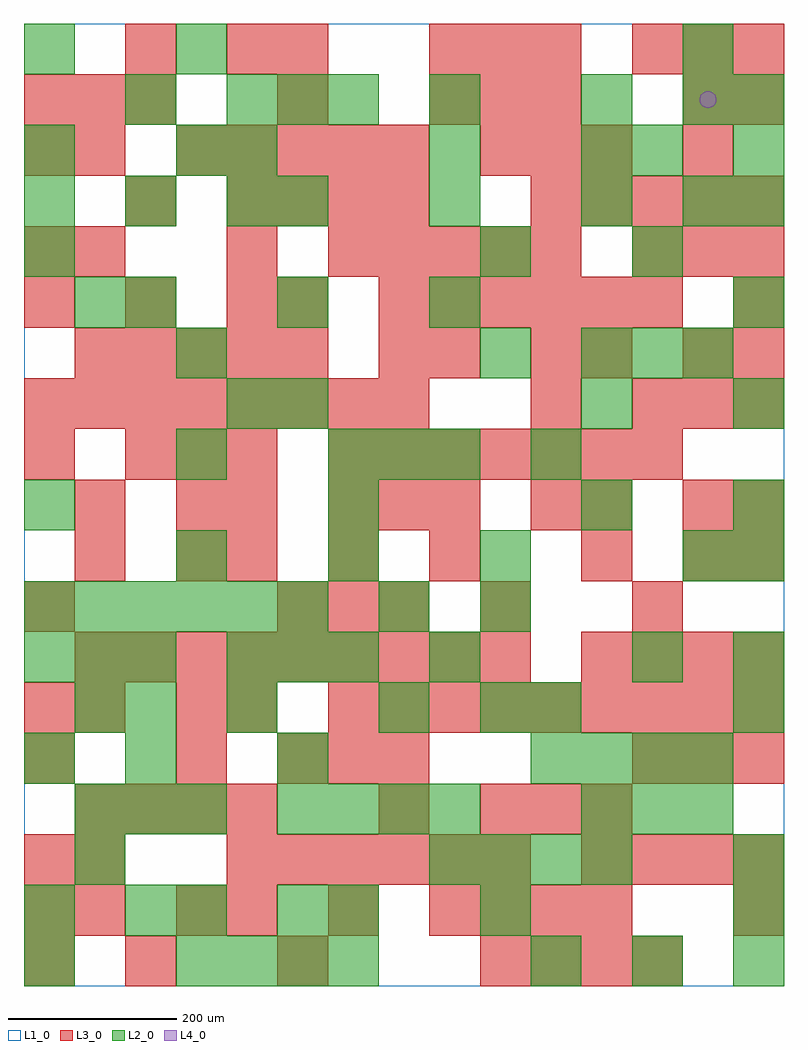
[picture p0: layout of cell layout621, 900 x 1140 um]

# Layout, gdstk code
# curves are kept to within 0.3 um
import gdstk
lib = gdstk.Library(unit=1e-6, precision=1e-09)
def R(c, l, rs):  # rectangles x0, y0, x1, y1
    for r in rs: c.add(gdstk.rectangle(r[:2], r[2:], *l))
def A(c, l, x, y, w, h, nx, ny, dx, dy):  # array of equal rectangles
    R(c, l, [(x+i*dx, y+j*dy, x+i*dx+w, y+j*dy+h) for i in range(nx) for j in range(ny)])
def P(c, l, *ps):  # polygons
    for p in ps: c.add(gdstk.Polygon(p, *l))
L1_0 = (1, 0)
L2_0 = (2, 0)
L3_0 = (3, 0)
L4_0 = (4, 0)

layout621 = lib.new_cell('layout621')
R(layout621, L1_0, [(0,0,900,1140)])
A(layout621, L2_0, 180, 0, 60, 60, 4, 1, 60, 0)
A(layout621, L2_0, 600, 0, 60, 60, 3, 1, 120, 0)
A(layout621, L2_0, 480, 120, 60, 60, 4, 1, 60, 0)
A(layout621, L2_0, 60, 180, 60, 60, 3, 1, 60, 0)
A(layout621, L2_0, 300, 180, 60, 60, 4, 1, 60, 0)
A(layout621, L2_0, 660, 180, 60, 60, 3, 2, 60, 540)
A(layout621, L2_0, 0, 240, 60, 60, 1, 3, 0, 300)
A(layout621, L2_0, 600, 240, 60, 60, 4, 1, 60, 0)
A(layout621, L2_0, 0, 360, 60, 60, 3, 1, 60, 0)
A(layout621, L2_0, 240, 360, 60, 60, 3, 2, 60, 660)
A(layout621, L2_0, 0, 420, 60, 60, 6, 1, 60, 0)
A(layout621, L2_0, 180, 480, 60, 60, 3, 1, 180, 0)
A(layout621, L2_0, 840, 540, 60, 60, 1, 4, 0, 120)
A(layout621, L2_0, 360, 600, 60, 60, 3, 1, 60, 0)
A(layout621, L2_0, 120, 780, 60, 60, 3, 1, 180, 0)
A(layout621, L2_0, 0, 900, 60, 60, 3, 1, 120, 0)
A(layout621, L2_0, 300, 900, 60, 60, 3, 1, 180, 0)
R(layout621, L2_0, [(0,0,60,60), (0,60,60,120), (120,60,180,120), (180,60,240,120), (300,60,360,120), (360,60,420,120), (540,60,600,120), (840,60,900,120), (60,120,120,180), (840,120,900,180), (120,240,180,300), (300,240,360,300), (60,300,120,360), (120,300,180,360), (240,300,300,360), (420,300,480,360), (540,300,600,360), (600,300,660,360), (840,300,900,360), (480,360,540,420), (720,360,780,420), (840,360,900,420), (420,420,480,480), (540,420,600,480), (780,480,840,540), (840,480,900,540), (360,540,420,600), (660,540,720,600), (180,600,240,660), (600,600,660,660), (240,660,300,720), (300,660,360,720), (660,660,720,720), (180,720,240,780), (540,720,600,780), (60,780,120,840), (540,840,600,900), (720,840,780,900), (780,900,840,960), (0,960,60,1020), (180,960,240,1020), (240,960,300,1020), (480,960,540,1020), (660,960,720,1020), (720,960,780,1020), (840,960,900,1020), (120,1020,180,1080), (480,1020,540,1080), (660,1020,720,1080), (780,1020,840,1080), (840,1020,900,1080), (0,1080,60,1140), (180,1080,240,1140), (780,1080,840,1140)])
A(layout621, L3_0, 0, 0, 60, 60, 1, 3, 0, 60)
A(layout621, L3_0, 540, 0, 60, 60, 4, 1, 60, 0)
A(layout621, L3_0, 240, 60, 60, 60, 3, 2, 120, 420)
A(layout621, L3_0, 540, 60, 60, 60, 3, 2, 60, 120)
A(layout621, L3_0, 60, 120, 60, 60, 1, 3, 0, 180)
A(layout621, L3_0, 240, 120, 60, 60, 6, 1, 60, 0)
A(layout621, L3_0, 660, 120, 60, 60, 4, 2, 60, 240)
A(layout621, L3_0, 60, 180, 60, 60, 4, 1, 60, 0)
A(layout621, L3_0, 300, 240, 60, 60, 3, 2, 60, 180)
A(layout621, L3_0, 720, 240, 60, 60, 3, 2, 60, 420)
A(layout621, L3_0, 360, 300, 60, 60, 9, 1, 60, 0)
A(layout621, L3_0, 60, 360, 60, 60, 9, 1, 60, 0)
A(layout621, L3_0, 360, 540, 60, 60, 3, 1, 60, 0)
A(layout621, L3_0, 120, 600, 60, 60, 3, 1, 60, 0)
A(layout621, L3_0, 360, 600, 60, 60, 7, 1, 60, 0)
A(layout621, L3_0, 0, 660, 60, 60, 8, 1, 60, 0)
A(layout621, L3_0, 60, 720, 60, 60, 5, 1, 60, 0)
A(layout621, L3_0, 0, 780, 60, 60, 3, 1, 120, 0)
A(layout621, L3_0, 420, 780, 60, 60, 6, 1, 60, 0)
A(layout621, L3_0, 360, 840, 60, 60, 5, 1, 60, 0)
A(layout621, L3_0, 720, 840, 60, 60, 3, 2, 60, 240)
A(layout621, L3_0, 240, 900, 60, 60, 4, 1, 60, 0)
A(layout621, L3_0, 600, 900, 60, 60, 5, 1, 60, 0)
A(layout621, L3_0, 180, 960, 60, 60, 5, 1, 60, 0)
A(layout621, L3_0, 540, 960, 60, 60, 3, 1, 60, 0)
A(layout621, L3_0, 0, 1020, 60, 60, 3, 1, 60, 0)
A(layout621, L3_0, 480, 1020, 60, 60, 3, 2, 60, 60)
R(layout621, L3_0, [(120,0,180,60), (300,0,360,60), (60,60,120,120), (180,60,240,120), (840,60,900,120), (420,180,480,240), (0,240,60,300), (180,240,240,300), (0,300,60,360), (180,300,240,360), (240,300,300,360), (0,420,60,480), (540,420,600,480), (720,420,780,480), (180,480,240,540), (660,480,720,540), (780,480,840,540), (840,480,900,540), (60,540,120,600), (180,540,240,600), (240,540,300,600), (600,540,660,600), (660,540,720,600), (780,540,840,600), (840,540,900,600), (0,600,60,660), (600,660,660,720), (420,720,480,780), (480,720,540,780), (600,720,660,780), (660,720,720,780), (780,720,840,780), (840,720,900,780), (300,780,360,840), (840,780,900,840), (0,840,60,900), (60,840,120,900), (240,840,300,900), (120,900,180,960), (0,960,60,1020), (60,960,120,1020), (780,960,840,1020), (300,1020,360,1080), (780,1020,840,1080), (840,1020,900,1080), (120,1080,180,1140), (240,1080,300,1140), (300,1080,360,1140)])
P(layout621, L4_0, [(820,1050),(819.239,1053.827),(817.071,1057.071),(813.827,1059.239),(810,1060),(806.173,1059.239),(802.929,1057.071),(800.761,1053.827),(800,1050),(800.761,1046.173),(802.929,1042.929),(806.173,1040.761),(810,1040),(813.827,1040.761),(817.071,1042.929),(819.239,1046.173)])

lib.write_gds('layout621.gds')
